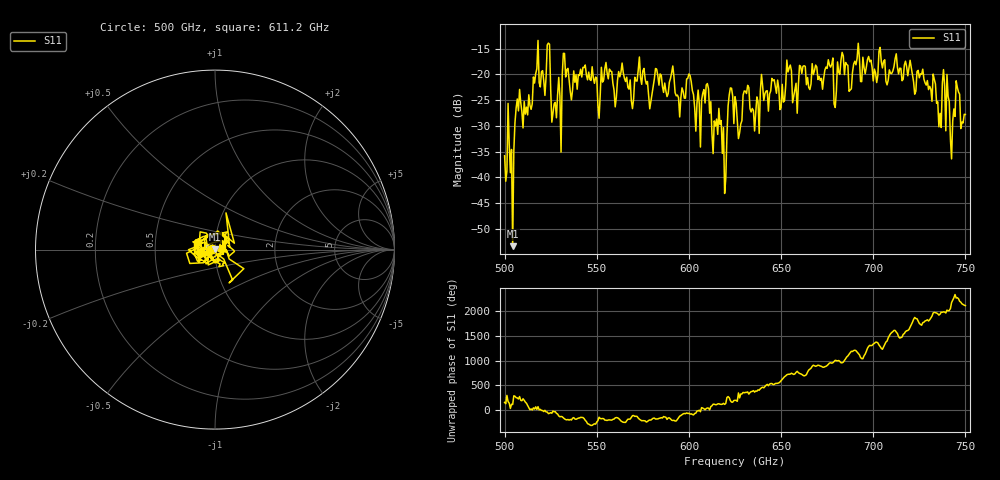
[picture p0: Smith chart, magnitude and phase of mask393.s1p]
!Created with skrf (http://scikit-rf.org).
# GHz S MA R 50.0
!freq magS11 angS11
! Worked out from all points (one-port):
!   401 points, 500 GHz to 750 GHz, reference 50 ohm
!   lowest |S11| = -53.4 dB at 504.4 GHz (marker M1), VSWR 1.00, Z = 49.9 + j0.192 ohm
!   |S11| at or under -10 dB: start of sweep to end of sweep
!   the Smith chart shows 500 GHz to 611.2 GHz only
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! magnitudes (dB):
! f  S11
! 500 GHz  -35.8
! 504.4 GHz  -53.4
! 506.9 GHz  -24.8
! 513.8 GHz  -26.0
! 516.9 GHz  -19.8
! 523.8 GHz  -13.9
! 526.9 GHz  -25.7
! 531.2 GHz  -20.3
! 562.5 GHz  -20.5
! 579.4 GHz  -25.2
! 590.6 GHz  -19.7
! 593.8 GHz  -24.0
! 600 GHz  -19.9
! 605 GHz  -23.0
! 609.4 GHz  -22.1
! 619.4 GHz  -43.1
! 622.5 GHz  -22.6
! 625 GHz  -24.3
! 627.5 GHz  -31.4
! 656.2 GHz  -25.5
! 687.5 GHz  -23.0
! 691.2 GHz  -16.9
! 718.8 GHz  -20.3
! 735.6 GHz  -30.2
! 738.8 GHz  -22.3
! 743.1 GHz  -29.0
! 745.6 GHz  -22.5
! 750 GHz  -27.8
